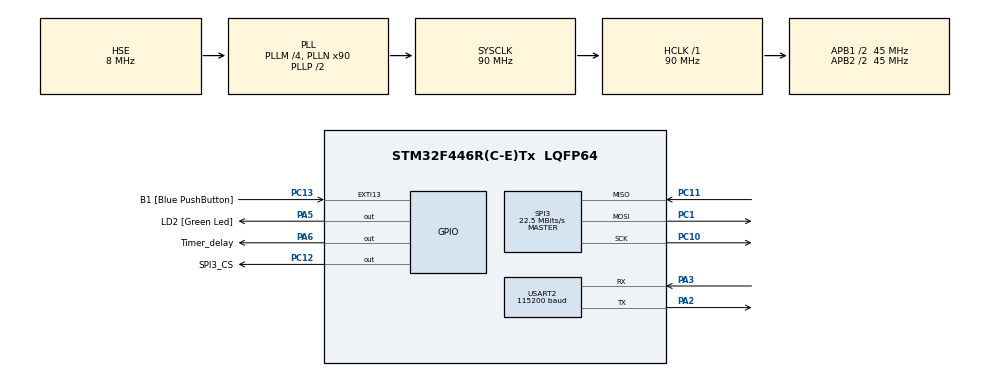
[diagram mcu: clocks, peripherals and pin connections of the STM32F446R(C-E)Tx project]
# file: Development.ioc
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FATFS._MAX_SS=4096
FATFS._USE_LFN=1
Mcu.Family=STM32F4
Mcu.Name=STM32F446R(C-E)Tx
Mcu.Package=LQFP64
NVIC.PriorityGroup=NVIC_PRIORITYGROUP_0
NVIC.TIM3_IRQn=true\:0\:0\:false\:false\:true\:true\:true\:true
PA13.GPIO_Label=TMS
PA13.Signal=SYS_JTMS-SWDIO
PA14.GPIO_Label=TCK
PA14.Signal=SYS_JTCK-SWCLK
PA2.GPIO_ModeDefaultPP=GPIO_MODE_AF_PP
PA2.GPIO_PuPd=GPIO_NOPULL
PA2.GPIO_Speed=GPIO_SPEED_FREQ_VERY_HIGH
PA2.Mode=Asynchronous
PA2.Signal=USART2_TX
PA3.GPIO_ModeDefaultPP=GPIO_MODE_AF_PP
PA3.GPIO_PuPd=GPIO_NOPULL
PA3.GPIO_Speed=GPIO_SPEED_FREQ_VERY_HIGH
PA3.Mode=Asynchronous
PA3.Signal=USART2_RX
PA5.GPIO_Label=LD2 [Green Led]
PA5.Signal=GPIO_Output
PA6.GPIO_Label=Timer_delay
PA6.Signal=GPIO_Output
PB3.GPIO_Label=SWO
PB3.Signal=SYS_JTDO-SWO
PC1.Mode=Full_Duplex_Master
PC1.Signal=SPI3_MOSI
PC10.Mode=Full_Duplex_Master
PC10.Signal=SPI3_SCK
PC11.Mode=Full_Duplex_Master
PC11.Signal=SPI3_MISO
PC12.GPIO_Label=SPI3_CS
PC12.Signal=GPIO_Output
PC13.GPIO_Label=B1 [Blue PushButton]
PC13.GPIO_ModeDefaultEXTI=GPIO_MODE_IT_RISING
PC13.Signal=GPXTI13
PC14-OSC32_IN.Signal=RCC_OSC32_IN
PC15-OSC32_OUT.Signal=RCC_OSC32_OUT
PH0-OSC_IN.Mode=HSE-External-Oscillator
PH0-OSC_IN.Signal=RCC_OSC_IN
PH1-OSC_OUT.Mode=HSE-External-Oscillator
PH1-OSC_OUT.Signal=RCC_OSC_OUT
ProjectManager.HeapSize=0x200
ProjectManager.StackSize=0x400
ProjectManager.TargetToolchain=STM32CubeIDE
RCC.AHBFreq_Value=90000000
RCC.APB1CLKDivider=RCC_HCLK_DIV2
RCC.APB1Freq_Value=45000000
RCC.APB1TimFreq_Value=90000000
RCC.APB2CLKDivider=RCC_HCLK_DIV2
RCC.APB2Freq_Value=45000000
RCC.APB2TimFreq_Value=90000000
RCC.CortexFreq_Value=90000000
RCC.FLatency-AdvancedSettings=FLASH_LATENCY_2
RCC.HCLKFreq_Value=90000000
RCC.HSE_VALUE=8000000
RCC.HSI_VALUE=16000000
RCC.LSE_VALUE=32768
RCC.PLLM=4
RCC.PLLN=90
RCC.PLLSourceVirtual=RCC_PLLSOURCE_HSE
RCC.SYSCLKFreq_VALUE=90000000
RCC.SYSCLKSource=RCC_SYSCLKSOURCE_PLLCLK
RCC.USBFreq_Value=90000000
RCC.VCOOutputFreq_Value=180000000
SPI3.BaudRatePrescaler=SPI_BAUDRATEPRESCALER_2
SPI3.CalculateBaudRate=22.5 MBits/s
SPI3.Direction=SPI_DIRECTION_2LINES
SPI3.Mode=SPI_MODE_MASTER
SPI3.VirtualType=VM_MASTER
TIM3.Period=44999
TIM3.Prescaler=1
TIM4.AutoReloadPreload=TIM_AUTORELOAD_PRELOAD_DISABLE
TIM4.Period=65535
TIM4.Prescaler=89
USART2.BaudRate=115200
USART2.VirtualMode=VM_ASYNC
VP_FATFS_VS_Generic.Mode=User_defined
VP_TIM3_VS_ClockSourceINT.Mode=Internal
VP_TIM4_VS_ClockSourceINT.Mode=Internal
board=NUCLEO-F446RE

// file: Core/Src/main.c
/* USER CODE BEGIN Header */
/**
 ******************************************************************************
 * @file           : main.c
 * @brief          : Main program body
 ******************************************************************************
 * @attention
 *
 * Copyright (c) 2024 STMicroelectronics.
 * All rights reserved.
 *
 * This software is licensed under terms that can be found in the LICENSE file
 * in the root directory of this software component.
 * If no LICENSE file comes with this software, it is provided AS-IS.
 *
 ******************************************************************************
 */
/* USER CODE END Header */
#include "main.h"
#include "fatfs.h"
#include "spi.h"
#include "tim.h"
#include "usart.h"
#include "gpio.h"

/* USER CODE BEGIN Includes */
#include "SD.h"
/* USER CODE END Includes */

/* USER CODE BEGIN PD */
/*----------------------------------------------------------------------------*/
#define SYSTICK_LOAD (SystemCoreClock/1000000U)
/*----------------------------------------------------------------------------*/
#define SYSTICK_DELAY_CALIB (SYSTICK_LOAD >> 1)
/*----------------------------------------------------------------------------*/
#define DELAY_US(us) \
		do { \
			uint32_t start = SysTick->VAL; \
			uint32_t ticks = (us * SYSTICK_LOAD)-SYSTICK_DELAY_CALIB;  \
			while((start - SysTick->VAL) < ticks); \
		} while (0)
/*----------------------------------------------------------------------------*/
#define DELAY_MS(ms) \
		do { \
			for (uint32_t i = 0; i < (ms - 2); ++i) { \
				DELAY_US(1000); \
			} \
		} while (0)
/*----------------------------------------------------------------------------*/

/*----------------------------------------------------------------------------*/

/*----------------------------------------------------------------------------*/
/* USER CODE END PD */

void SystemClock_Config(void);
/* USER CODE BEGIN PFP */
void delay_us_timer(uint32_t t_us);
void delay_ms_timer(uint32_t t_ms);
/* USER CODE END PFP */

int main(void)
{

  /* MCU Configuration--------------------------------------------------------*/

  /* Reset of all peripherals, Initializes the Flash interface and the Systick. */
  HAL_Init();

  /* Configure the system clock */
  SystemClock_Config();

  /* Initialize all configured peripherals */
  MX_GPIO_Init();
  MX_USART2_UART_Init();
  MX_TIM4_Init();
  MX_TIM3_Init();
  MX_SPI3_Init();
  MX_FATFS_Init();
  /* USER CODE BEGIN 2 */
	SDCardInit();
	UARTExtendedStreamCSVCreate();
  /* USER CODE END 2 */

  /* Infinite loop */
	while (1)
	{
	}

}

void SystemClock_Config(void)
{
  RCC_OscInitTypeDef RCC_OscInitStruct = {0};
  RCC_ClkInitTypeDef RCC_ClkInitStruct = {0};

  /** Configure the main internal regulator output voltage
  */
  __HAL_RCC_PWR_CLK_ENABLE();
  __HAL_PWR_VOLTAGESCALING_CONFIG(PWR_REGULATOR_VOLTAGE_SCALE3);

  /** Initializes the RCC Oscillators according to the specified parameters
  * in the RCC_OscInitTypeDef structure.
  */
  RCC_OscInitStruct.OscillatorType = RCC_OSCILLATORTYPE_HSE;
  RCC_OscInitStruct.HSEState = RCC_HSE_ON;
  RCC_OscInitStruct.PLL.PLLState = RCC_PLL_ON;
  RCC_OscInitStruct.PLL.PLLSource = RCC_PLLSOURCE_HSE;
  RCC_OscInitStruct.PLL.PLLM = 4;
  RCC_OscInitStruct.PLL.PLLN = 90;
  RCC_OscInitStruct.PLL.PLLP = RCC_PLLP_DIV2;
  RCC_OscInitStruct.PLL.PLLQ = 2;
  RCC_OscInitStruct.PLL.PLLR = 2;
  if (HAL_RCC_OscConfig(&RCC_OscInitStruct) != HAL_OK)
  {
    Error_Handler();
  }

  /** Initializes the CPU, AHB and APB buses clocks
  */
  RCC_ClkInitStruct.ClockType = RCC_CLOCKTYPE_HCLK|RCC_CLOCKTYPE_SYSCLK
                              |RCC_CLOCKTYPE_PCLK1|RCC_CLOCKTYPE_PCLK2;
  RCC_ClkInitStruct.SYSCLKSource = RCC_SYSCLKSOURCE_PLLCLK;
  RCC_ClkInitStruct.AHBCLKDivider = RCC_SYSCLK_DIV1;
  RCC_ClkInitStruct.APB1CLKDivider = RCC_HCLK_DIV2;
  RCC_ClkInitStruct.APB2CLKDivider = RCC_HCLK_DIV2;

  if (HAL_RCC_ClockConfig(&RCC_ClkInitStruct, FLASH_LATENCY_2) != HAL_OK)
  {
    Error_Handler();
  }
}

/* USER CODE BEGIN 4 */
// Planning to use this SD_Card_Test Function for CardLifecycle and usage monitoring

/* USER CODE END 4 */

void Error_Handler(void)
{
	__disable_irq();
	while (1)
	{
	}
}
